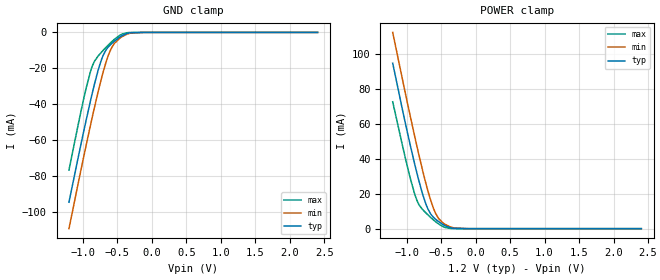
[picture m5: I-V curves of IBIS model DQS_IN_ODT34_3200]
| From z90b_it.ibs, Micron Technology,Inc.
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| MODEL DQS_IN_ODT34_3200 (Data Strobe Input with 34ohm ODT, 2933/3200Mbps)
[Model]   DQS_IN_ODT34_3200
Model_type   Input
Vinl = 860.000mV
Vinh = 1060.000mV
|   typ   min   max
|C_comp   0.973pF   0.905pF   1.054pF
C_comp_power_clamp   0.4865pF   0.4525pF   0.5270pF
C_comp_gnd_clamp   0.4865pF   0.4525pF   0.5270pF
| Note: C_comp changes when the ODT circuit is enabled.
|[Model Spec]
| Dynamic Overshoot Parameters from DDR4 Specification
|D_overshoot_ampl_h   0.40   NA   NA
|D_overshoot_ampl_l   0.40   NA   NA
|D_overshoot_area_h   0.0600n   NA   NA
|D_overshoot_area_l   0.0600n   NA   NA
[Voltage Range]   1.2000V   1.1400V   1.2600V
| Junction Temperature (Ambient temp is 35C typ, 95C min, -40C max)
[Temperature Range]   50.0   110.0   -40.0
[Add Submodel]
| Submodel Name   Mode
34ohm_ODT_3200   Non-Driving
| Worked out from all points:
|   GND clamp passes 1 mA (typ) near -0.38 V on its own axis
|   POWER clamp passes 1 mA (typ) near -0.39 V on its own axis
[GND Clamp]
|   Voltage   I(typ)   I(min)   I(max)
-1.2V     -94.51mA   -109.2mA   -76.61mA
-991.4mV  -56.02mA   -70.17mA   -37.83mA
-886.3mV  -37.8mA    -51.36mA   -21.52mA
-858.5mV  -33.25mA   -46.56mA   -18.42mA
-739.2mV  -16.33mA   -27.13mA   -11.47mA
-646.9mV  -8.927mA   -14.7mA    -7.681mA
-585.5mV  -6.376mA   -8.839mA   -5.366mA
-545.6mV  -5.017mA   -6.322mA   -3.982mA
-459.1mV  -2.504mA   -3.107mA   -1.514mA
-316.8mV  -264.2uA   -500.5uA   -60.28uA
-118.9mV  -745.9nA   -5.845uA   0A
2.402V    0A         0A         0A
[POWER Clamp]
|   Voltage   I(typ)   I(min)   I(max)
-1.2V     94.96mA    112.6mA    72.78mA
-983.4mV  54.54mA    71.54mA    34.99mA
-885.6mV  37.75mA    53.73mA    20.39mA
-844.7mV  31.19mA    46.52mA    15.81mA
-761.5mV  19.19mA    32.55mA    10.75mA
-690mV    11.31mA    21.67mA    7.911mA
-611.8mV  6.601mA    11.92mA    5.093mA
-574.1mV  5.241mA    8.441mA    3.863mA
-474.2mV  2.445mA    3.365mA    1.256mA
-322.8mV  243.3uA    541uA      30.78uA
-118.9mV  410.4nA    5.836uA    0A
2.402V    0A         0A         0A
